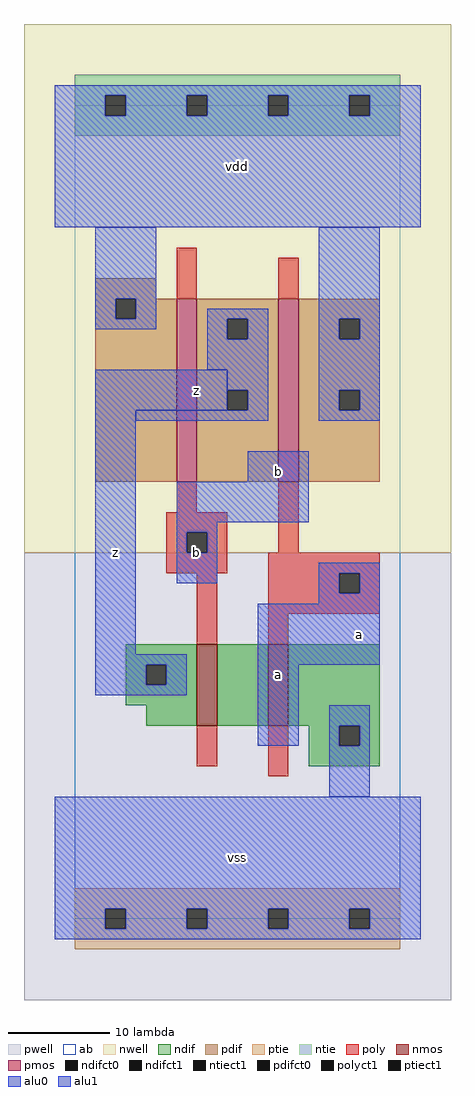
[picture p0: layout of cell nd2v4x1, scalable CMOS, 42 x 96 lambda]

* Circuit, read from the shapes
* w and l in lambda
.subckt nd2v4x1 a b vdd vss z
M1 n1 b z vss nfet w=8 l=2
M2 vss a n1 vss nfet w=8 l=2
M3 z b vdd vdd pfet w=18 l=2
M4 vdd a z vdd pfet w=18 l=2
.ends

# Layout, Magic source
magic
tech scmos
<< ab >>
rect 0 0 32 80
<< nwell >>
rect -5 36 37 88
<< pwell >>
rect -5 -8 37 36
<< poly >>
rect 10 61 12 66
rect 20 61 22 65
rect 10 40 12 43
rect 9 38 15 40
rect 9 36 11 38
rect 13 36 15 38
rect 20 36 22 43
rect 9 34 15 36
rect 19 34 30 36
rect 12 27 14 34
rect 19 32 26 34
rect 28 32 30 34
rect 19 30 30 32
rect 19 27 21 30
rect 12 15 14 19
rect 19 14 21 19
<< ndif >>
rect 5 25 12 27
rect 5 23 7 25
rect 9 23 12 25
rect 5 21 12 23
rect 7 19 12 21
rect 14 19 19 27
rect 21 19 30 27
rect 23 17 26 19
rect 28 17 30 19
rect 23 15 30 17
<< pdif >>
rect 2 61 8 63
rect 2 59 4 61
rect 6 59 10 61
rect 2 43 10 59
rect 12 59 20 61
rect 12 57 15 59
rect 17 57 20 59
rect 12 52 20 57
rect 12 50 15 52
rect 17 50 20 52
rect 12 43 20 50
rect 22 59 30 61
rect 22 57 26 59
rect 28 57 30 59
rect 22 52 30 57
rect 22 50 26 52
rect 28 50 30 52
rect 22 43 30 50
<< alu1 >>
rect -2 81 34 82
rect -2 79 3 81
rect 5 79 11 81
rect 13 79 19 81
rect 21 79 27 81
rect 29 79 34 81
rect -2 68 34 79
rect 2 50 15 54
rect 2 26 6 50
rect 17 43 23 46
rect 10 39 23 43
rect 10 38 14 39
rect 10 36 11 38
rect 13 36 14 38
rect 10 33 14 36
rect 24 34 30 35
rect 24 32 26 34
rect 28 32 30 34
rect 24 31 30 32
rect 2 25 11 26
rect 2 23 7 25
rect 9 23 11 25
rect 2 22 11 23
rect 18 25 30 31
rect 18 17 22 25
rect -2 1 34 12
rect -2 -1 3 1
rect 5 -1 11 1
rect 13 -1 19 1
rect 21 -1 27 1
rect 29 -1 34 1
rect -2 -2 34 -1
<< ptie >>
rect 0 1 32 3
rect 0 -1 3 1
rect 5 -1 11 1
rect 13 -1 19 1
rect 21 -1 27 1
rect 29 -1 32 1
rect 0 -3 32 -1
<< ntie >>
rect 0 81 32 83
rect 0 79 3 81
rect 5 79 11 81
rect 13 79 19 81
rect 21 79 27 81
rect 29 79 32 81
rect 0 77 32 79
<< nmos >>
rect 12 19 14 27
rect 19 19 21 27
<< pmos >>
rect 10 43 12 61
rect 20 43 22 61
<< polyct1 >>
rect 11 36 13 38
rect 26 32 28 34
<< ndifct0 >>
rect 26 17 28 19
<< ndifct1 >>
rect 7 23 9 25
<< ntiect1 >>
rect 3 79 5 81
rect 11 79 13 81
rect 19 79 21 81
rect 27 79 29 81
<< ptiect1 >>
rect 3 -1 5 1
rect 11 -1 13 1
rect 19 -1 21 1
rect 27 -1 29 1
<< pdifct0 >>
rect 4 59 6 61
rect 15 57 17 59
rect 15 50 17 52
rect 26 57 28 59
rect 26 50 28 52
<< alu0 >>
rect 2 61 8 68
rect 2 59 4 61
rect 6 59 8 61
rect 2 58 8 59
rect 13 59 19 60
rect 13 57 15 59
rect 17 57 19 59
rect 13 54 19 57
rect 15 52 19 54
rect 17 50 19 52
rect 6 49 19 50
rect 24 59 30 68
rect 24 57 26 59
rect 28 57 30 59
rect 24 52 30 57
rect 24 50 26 52
rect 28 50 30 52
rect 24 49 30 50
rect 25 19 29 21
rect 25 17 26 19
rect 28 17 29 19
rect 25 12 29 17
<< labels >>
rlabel alu1 4 36 4 36 6 z
rlabel alu1 12 36 12 36 6 b
rlabel alu1 12 52 12 52 6 z
rlabel alu1 16 6 16 6 6 vss
rlabel alu1 20 24 20 24 6 a
rlabel alu1 20 44 20 44 6 b
rlabel alu1 16 74 16 74 6 vdd
rlabel alu1 28 28 28 28 6 a
<< end >>
